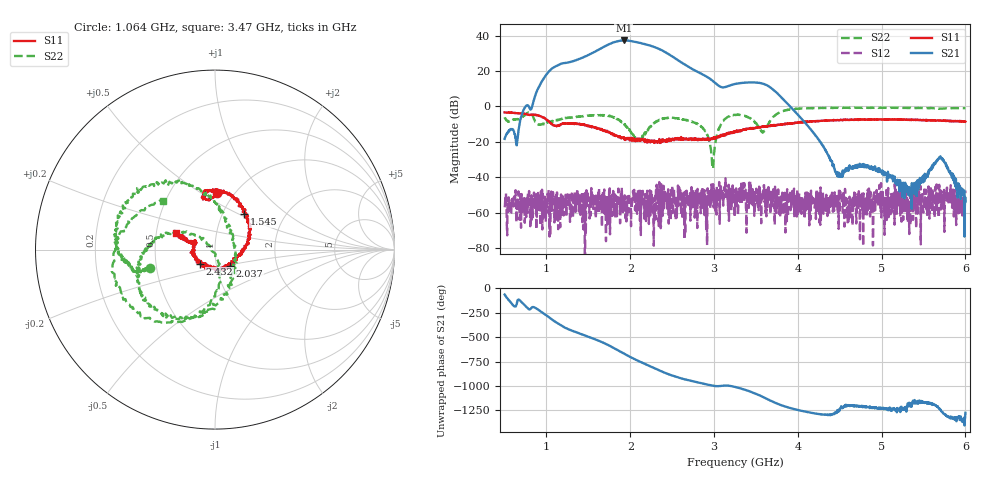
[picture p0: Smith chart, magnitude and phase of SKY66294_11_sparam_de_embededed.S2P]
! SKY66294-11
! S-PARAMETERS_DE-EMBEDDED
! VCC1= VCC2= VCC3= VBIAS= 5.00VDC
! PA_ENABLE= 2.00VDC
! START FREQUENCY= 500MHZ
! STOP FREQUENCY= 6.0GHZ
! DATA POINTS= 1601
! CHARACTERISTIC IMPEDANCE= 50 OHMS
! AMBIENT TEMPERATURE= +25C
! RF INPUT POWER= -30DBM
!Agilent Technologies,E5071C,MY46108160,A.09.30
!Date: Tue Oct 17 14:55:25 2017
!Data & Calibration Information:
!Freq	S11:SOLT2(ON)	S21:SOLT2(ON)	S12:SOLT2(ON)	S22:SOLT2(ON)
# Hz S dB R 50
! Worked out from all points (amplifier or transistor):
!   1601 points, 500 MHz to 6 GHz, reference 50 ohm
!   highest |S21| = 37.3 dB at 1.923 GHz (marker M1)
!   |S21| within 3 dB of that: 1.709 GHz to 2.244 GHz (534.4 MHz wide, 27 % of centre)
!   unconditionally stable (mu >= 1): start of sweep to end of sweep
!   at 1.414 GHz: K = 12.70, MAG = 29.1 dB, |S12| = -59.1 dB
!   at 3.25 GHz: K = 24.20, MAG = 14.7 dB, |S12| = -50.3 dB
!   at 6 GHz: K = 9802.86, MAG = -46.0 dB, |S12| = -47.4 dB
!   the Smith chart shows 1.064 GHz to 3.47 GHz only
!   S11 on the Smith chart (normalised r, x): 1.064 GHz: 0.83, +0.58; 1.545 GHz: 1.26, +0.54; 2.037 GHz: 1.16, -0.21; 2.432 GHz: 0.83, -0.13; 3.47 GHz: 0.63, +0.13
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5e8  -3.38 149.4  -18.32 -63.0  -56.94 29.2  -6.11 -172.4
9.33125e8  -5.57 97.9  13.27 123.5  -47.97 89.9  -10.30 -175.0
1.06375e9  -10.04 88.3  21.34 41.9  -53.34 144.4  -8.45 -164.7
1.190938e9  -9.63 99.1  24.34 -28.5  -61.21 20.8  -6.94 -164.1
1.417812e9  -10.27 71.5  27.30 -109.6  -50.63 22.2  -5.64 -177.0
1.545e9  -11.78 50.9  30.14 -150.3  -54.04 65.8  -4.96 173.1
1.66875e9  -13.21 27.0  33.25 166.7  -58.93 67.2  -5.05 158.6
1.744375e9  -14.59 13.2  35.07 136.1  -55.48 -73.4  -5.35 145.0
1.844062e9  -16.60 -11.7  36.77 90.7  -54.70 56.4  -7.11 122.0
1.923125e9  -17.38 -25.7  37.26 52.8  -52.58 -32.4  -10.10 101.7
1.981562e9  -18.15 -31.9  37.09 25.3  -59.58 -24.7  -13.21 80.9
2.036562e9  -18.12 -47.0  36.67 1.4  -49.23 126.0  -15.97 61.0
2.112188e9  -19.27 -62.9  35.91 -30.0  -46.03 19.6  -18.61 -2.2
2.184375e9  -19.44 -90.4  35.06 -58.5  -55.73 71.7  -14.51 -58.9
2.335625e9  -19.59 -120.4  32.64 -116.5  -57.61 -11.9  -7.90 -111.3
2.431875e9  -18.80 -137.4  30.27 -151.2  -51.86 -79.0  -6.58 -135.2
2.645e9  -18.25 174.9  23.77 149.3  -75.22 123.1  -7.53 -170.4
3.25e9  -14.64 157.0  12.70 70.1  -50.31 -170.6  -4.68 -154.5
3.47e9  -12.52 156.5  13.58 10.6  -49.88 -150.9  -7.99 137.1
4.167812e9  -8.48 156.4  -13.73 163.8  -54.72 50.1  -0.97 -162.2
5.085625e9  -7.25 158.8  -39.24 -158.5  -57.32 33.0  -0.82 165.6
6e9  -8.57 144.9  -53.63 164.5  -47.44 171.7  -0.98 154.2
